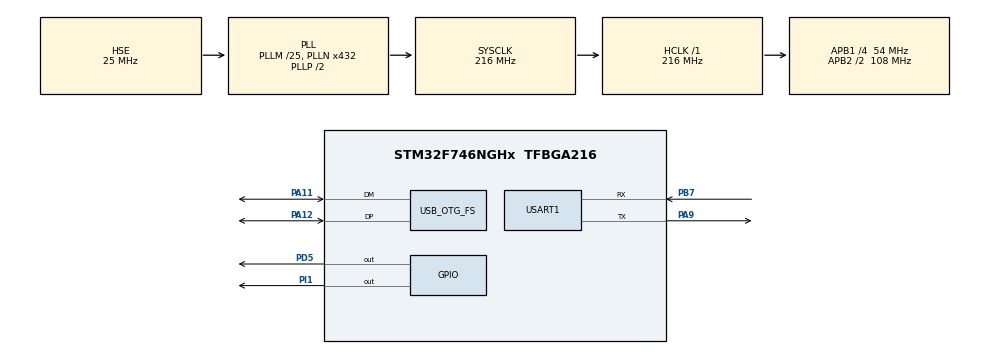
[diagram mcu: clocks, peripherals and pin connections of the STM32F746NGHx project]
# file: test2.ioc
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Dma.Request0=USART1_TX
Dma.USART1_TX.0.Direction=DMA_MEMORY_TO_PERIPH
Dma.USART1_TX.0.FIFOMode=DMA_FIFOMODE_DISABLE
Dma.USART1_TX.0.Instance=DMA2_Stream7
Dma.USART1_TX.0.MemDataAlignment=DMA_MDATAALIGN_BYTE
Dma.USART1_TX.0.MemInc=DMA_MINC_ENABLE
Dma.USART1_TX.0.Mode=DMA_NORMAL
Dma.USART1_TX.0.PeriphDataAlignment=DMA_PDATAALIGN_BYTE
Dma.USART1_TX.0.PeriphInc=DMA_PINC_DISABLE
Dma.USART1_TX.0.Priority=DMA_PRIORITY_LOW
FATFS._USE_LFN=3
Mcu.Family=STM32F7
Mcu.Name=STM32F746NGHx
Mcu.Package=TFBGA216
NVIC.DMA2_Stream7_IRQn=true\:0\:0\:false\:false\:true\:false
NVIC.OTG_FS_IRQn=true\:0\:0\:false\:false\:true\:false
NVIC.PriorityGroup=NVIC_PRIORITYGROUP_4
PA11.Mode=Host_Only
PA11.Signal=USB_OTG_FS_DM
PA12.Mode=Host_Only
PA12.Signal=USB_OTG_FS_DP
PA9.Mode=Asynchronous
PA9.Signal=USART1_TX
PB7.Mode=Asynchronous
PB7.Signal=USART1_RX
PD5.Signal=GPIO_Output
PH0/OSC_IN.Mode=HSE-External-Oscillator
PH0/OSC_IN.Signal=RCC_OSC_IN
PH1/OSC_OUT.Mode=HSE-External-Oscillator
PH1/OSC_OUT.Signal=RCC_OSC_OUT
PI1.Signal=GPIO_Output
ProjectManager.HeapSize=0x2000
ProjectManager.StackSize=0x4000
ProjectManager.TargetToolchain=TrueSTUDIO
RCC.AHBFreq_Value=216000000
RCC.APB1CLKDivider=RCC_HCLK_DIV4
RCC.APB1Freq_Value=54000000
RCC.APB1TimFreq_Value=108000000
RCC.APB2CLKDivider=RCC_HCLK_DIV2
RCC.APB2Freq_Value=108000000
RCC.APB2TimFreq_Value=216000000
RCC.CortexFreq_Value=216000000
RCC.HCLKFreq_Value=216000000
RCC.HSE_VALUE=25000000
RCC.HSI_VALUE=16000000
RCC.LSE_VALUE=32768
RCC.PLLM=25
RCC.PLLN=432
RCC.PLLQ=9
RCC.SYSCLKFreq_VALUE=216000000
RCC.SYSCLKSource=RCC_SYSCLKSOURCE_PLLCLK
RCC.USBFreq_Value=48000000
RCC.VCOOutputFreq_Value=432000000
USART1.VirtualMode-Asynchronous=VM_ASYNC
USART1.WordLength=WORDLENGTH_8B
USB_HOST.USBH_HandleTypeDef-MSC_FS=hUsbHostFS
USB_HOST.USBH_HandleTypeDef-MSC_HS=hUsbHostHS
USB_HOST.VirtualModeFS=Msc
USB_HOST.VirtualModeHS=Msc
USB_OTG_FS.VirtualMode=Host_Only
USB_OTG_FS.phy_itface=HCD_PHY_EMBEDDED
VP_FATFS_VS_USB.Mode=USB
VP_USB_HOST_VS_USB_HOST_MSC_FS.Mode=MSC_FS
board=test2

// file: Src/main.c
/**
  ******************************************************************************
  * File Name          : main.c
  * Description        : Main program body
  ******************************************************************************
  * This notice applies to any and all portions of this file
  * that are not between comment pairs USER CODE BEGIN and
  * USER CODE END. Other portions of this file, whether
  * inserted by the user or by software development tools
  * are owned by their respective copyright owners.
  *
  * Copyright (c) 2018 STMicroelectronics International N.V.
  * All rights reserved.
  *
  * Redistribution and use in source and binary forms, with or without
  * modification, are permitted, provided that the following conditions are met:
  *
  * 1. Redistribution of source code must retain the above copyright notice,
  *    this list of conditions and the following disclaimer.
  * 2. Redistributions in binary form must reproduce the above copyright notice,
  *    this list of conditions and the following disclaimer in the documentation
  *    and/or other materials provided with the distribution.
  * 3. Neither the name of STMicroelectronics nor the names of other
  *    contributors to this software may be used to endorse or promote products
  *    derived from this software without specific written permission.
  * 4. This software, including modifications and/or derivative works of this
  *    software, must execute solely and exclusively on microcontroller or
  *    microprocessor devices manufactured by or for STMicroelectronics.
  * 5. Redistribution and use of this software other than as permitted under
  *    this license is void and will automatically terminate your rights under
  *    this license.
  *
  * THIS SOFTWARE IS PROVIDED BY STMICROELECTRONICS AND CONTRIBUTORS "AS IS"
  * AND ANY EXPRESS, IMPLIED OR STATUTORY WARRANTIES, INCLUDING, BUT NOT
  * LIMITED TO, THE IMPLIED WARRANTIES OF MERCHANTABILITY, FITNESS FOR A
  * PARTICULAR PURPOSE AND NON-INFRINGEMENT OF THIRD PARTY INTELLECTUAL PROPERTY
  * RIGHTS ARE DISCLAIMED TO THE FULLEST EXTENT PERMITTED BY LAW. IN NO EVENT
  * SHALL STMICROELECTRONICS OR CONTRIBUTORS BE LIABLE FOR ANY DIRECT, INDIRECT,
  * INCIDENTAL, SPECIAL, EXEMPLARY, OR CONSEQUENTIAL DAMAGES (INCLUDING, BUT NOT
  * LIMITED TO, PROCUREMENT OF SUBSTITUTE GOODS OR SERVICES; LOSS OF USE, DATA,
  * OR PROFITS; OR BUSINESS INTERRUPTION) HOWEVER CAUSED AND ON ANY THEORY OF
  * LIABILITY, WHETHER IN CONTRACT, STRICT LIABILITY, OR TORT (INCLUDING
  * NEGLIGENCE OR OTHERWISE) ARISING IN ANY WAY OUT OF THE USE OF THIS SOFTWARE,
  * EVEN IF ADVISED OF THE POSSIBILITY OF SUCH DAMAGE.
  *
  ******************************************************************************
  */

#include "main.h"
#include "stm32f7xx_hal.h"
#include "fatfs.h"
#include "usb_host.h"

/* USER CODE BEGIN Includes */

#include "ff_gen_drv.h"

/* USER CODE END Includes */

UART_HandleTypeDef huart1;
DMA_HandleTypeDef hdma_usart1_tx;

/* USER CODE BEGIN PV */
/* Private variables ---------------------------------------------------------*/

extern ApplicationTypeDef Appli_state;
FATFS USBDISKFatFs;           /* File system object for USB disk logical drive */
FIL MyFile;                   /* File object */
extern USBH_HandleTypeDef hUsbHostFS;

/* USER CODE END PV */

void SystemClock_Config(void);
static void MX_GPIO_Init(void);
static void MX_DMA_Init(void);
static void MX_USART1_UART_Init(void);
void MX_USB_HOST_Process(void);

/* USER CODE BEGIN PFP */
/* Private function prototypes -----------------------------------------------*/

/* USER CODE END PFP */

/* USER CODE BEGIN 0 */

void scanFiles(void)
{
	FRESULT res;
	DIR dir;
	UINT nFiles = 0;
	static FILINFO fno;

	res = f_opendir(&dir, "/");
	if (res == FR_OK)
	{
		while (((res = f_readdir(&dir, &fno)) == FR_OK) && fno.fname[0])
		{
			if (!(fno.fattrib & AM_DIR)) {
				nFiles++;
				HAL_UART_Transmit(&huart1, (uint8_t *)fno.fname, strlen(fno.fname),0xFFFF);
				//HAL_Delay(10);
				HAL_UART_Transmit(&huart1, (uint8_t *)"\r\n", 2,0xFFFF);
				//HAL_Delay(10);
			}
		}
	}
	f_closedir(&dir);
}

/* USER CODE END 0 */

int main(void)
{

  /* MCU Configuration----------------------------------------------------------*/

  /* Reset of all peripherals, Initializes the Flash interface and the Systick. */
  HAL_Init();

  /* Configure the system clock */
  SystemClock_Config();

  /* Initialize all configured peripherals */
  MX_GPIO_Init();
  MX_DMA_Init();
  MX_USB_HOST_Init();
  MX_FATFS_Init();
  MX_USART1_UART_Init();

  /* Infinite loop */
  while (1)
  {
    MX_USB_HOST_Process();

  /* USER CODE BEGIN 3 */
    if(Appli_state==APPLICATION_START)
	{
    	HAL_GPIO_WritePin(GPIOI, GPIO_PIN_1, GPIO_PIN_SET);

		if(f_mount(&USBDISKFatFs, "", 0) != FR_OK)
		{
			HAL_UART_Transmit(&huart1, (uint8_t *)"mount error\r\n", 13,0xFFFF);
		}else {
			HAL_UART_Transmit(&huart1, (uint8_t *)"SCAN:\r\n", 7,0xFFFF);
			HAL_Delay(100);
			scanFiles();
		}

		Appli_state = APPLICATION_IDLE;
	}
	else if(Appli_state==APPLICATION_IDLE)
	{

	}

  }
  /* USER CODE END 3 */

}

/** System Clock Configuration
*/
void SystemClock_Config(void)
{

  RCC_OscInitTypeDef RCC_OscInitStruct;
  RCC_ClkInitTypeDef RCC_ClkInitStruct;
  RCC_PeriphCLKInitTypeDef PeriphClkInitStruct;

    /**Configure the main internal regulator output voltage
    */
  __HAL_RCC_PWR_CLK_ENABLE();

  __HAL_PWR_VOLTAGESCALING_CONFIG(PWR_REGULATOR_VOLTAGE_SCALE1);

    /**Initializes the CPU, AHB and APB busses clocks
    */
  RCC_OscInitStruct.OscillatorType = RCC_OSCILLATORTYPE_HSE;
  RCC_OscInitStruct.HSEState = RCC_HSE_ON;
  RCC_OscInitStruct.PLL.PLLState = RCC_PLL_ON;
  RCC_OscInitStruct.PLL.PLLSource = RCC_PLLSOURCE_HSE;
  RCC_OscInitStruct.PLL.PLLM = 25;
  RCC_OscInitStruct.PLL.PLLN = 432;
  RCC_OscInitStruct.PLL.PLLP = RCC_PLLP_DIV2;
  RCC_OscInitStruct.PLL.PLLQ = 9;
  if (HAL_RCC_OscConfig(&RCC_OscInitStruct) != HAL_OK)
  {
    _Error_Handler(__FILE__, __LINE__);
  }

    /**Activate the Over-Drive mode
    */
  if (HAL_PWREx_EnableOverDrive() != HAL_OK)
  {
    _Error_Handler(__FILE__, __LINE__);
  }

    /**Initializes the CPU, AHB and APB busses clocks
    */
  RCC_ClkInitStruct.ClockType = RCC_CLOCKTYPE_HCLK|RCC_CLOCKTYPE_SYSCLK
                              |RCC_CLOCKTYPE_PCLK1|RCC_CLOCKTYPE_PCLK2;
  RCC_ClkInitStruct.SYSCLKSource = RCC_SYSCLKSOURCE_PLLCLK;
  RCC_ClkInitStruct.AHBCLKDivider = RCC_SYSCLK_DIV1;
  RCC_ClkInitStruct.APB1CLKDivider = RCC_HCLK_DIV4;
  RCC_ClkInitStruct.APB2CLKDivider = RCC_HCLK_DIV2;

  if (HAL_RCC_ClockConfig(&RCC_ClkInitStruct, FLASH_LATENCY_7) != HAL_OK)
  {
    _Error_Handler(__FILE__, __LINE__);
  }

  PeriphClkInitStruct.PeriphClockSelection = RCC_PERIPHCLK_USART1|RCC_PERIPHCLK_CLK48;
  PeriphClkInitStruct.Usart1ClockSelection = RCC_USART1CLKSOURCE_PCLK2;
  PeriphClkInitStruct.Clk48ClockSelection = RCC_CLK48SOURCE_PLL;
  if (HAL_RCCEx_PeriphCLKConfig(&PeriphClkInitStruct) != HAL_OK)
  {
    _Error_Handler(__FILE__, __LINE__);
  }

    /**Configure the Systick interrupt time
    */
  HAL_SYSTICK_Config(HAL_RCC_GetHCLKFreq()/1000);

    /**Configure the Systick
    */
  HAL_SYSTICK_CLKSourceConfig(SYSTICK_CLKSOURCE_HCLK);

  /* SysTick_IRQn interrupt configuration */
  HAL_NVIC_SetPriority(SysTick_IRQn, 0, 0);
}

/* USART1 init function */
static void MX_USART1_UART_Init(void)
{

  huart1.Instance = USART1;
  huart1.Init.BaudRate = 115200;
  huart1.Init.WordLength = UART_WORDLENGTH_8B;
  huart1.Init.StopBits = UART_STOPBITS_1;
  huart1.Init.Parity = UART_PARITY_NONE;
  huart1.Init.Mode = UART_MODE_TX_RX;
  huart1.Init.HwFlowCtl = UART_HWCONTROL_NONE;
  huart1.Init.OverSampling = UART_OVERSAMPLING_16;
  huart1.Init.OneBitSampling = UART_ONE_BIT_SAMPLE_DISABLE;
  huart1.AdvancedInit.AdvFeatureInit = UART_ADVFEATURE_NO_INIT;
  if (HAL_UART_Init(&huart1) != HAL_OK)
  {
    _Error_Handler(__FILE__, __LINE__);
  }

}

static void MX_DMA_Init(void)
{
  /* DMA controller clock enable */
  __HAL_RCC_DMA2_CLK_ENABLE();

  /* DMA interrupt init */
  /* DMA2_Stream7_IRQn interrupt configuration */
  HAL_NVIC_SetPriority(DMA2_Stream7_IRQn, 0, 0);
  HAL_NVIC_EnableIRQ(DMA2_Stream7_IRQn);

}

/** Configure pins as
        * Analog
        * Input
        * Output
        * EVENT_OUT
        * EXTI
*/
static void MX_GPIO_Init(void)
{

  GPIO_InitTypeDef GPIO_InitStruct;

  /* GPIO Ports Clock Enable */
  __HAL_RCC_GPIOB_CLK_ENABLE();
  __HAL_RCC_GPIOA_CLK_ENABLE();
  __HAL_RCC_GPIOD_CLK_ENABLE();
  __HAL_RCC_GPIOI_CLK_ENABLE();
  __HAL_RCC_GPIOH_CLK_ENABLE();

  /*Configure GPIO pin Output Level */
  HAL_GPIO_WritePin(GPIOD, GPIO_PIN_5, GPIO_PIN_RESET);

  /*Configure GPIO pin Output Level */
  HAL_GPIO_WritePin(GPIOI, GPIO_PIN_1, GPIO_PIN_RESET);

  /*Configure GPIO pin : PD5 */
  GPIO_InitStruct.Pin = GPIO_PIN_5;
  GPIO_InitStruct.Mode = GPIO_MODE_OUTPUT_PP;
  GPIO_InitStruct.Pull = GPIO_NOPULL;
  GPIO_InitStruct.Speed = GPIO_SPEED_FREQ_LOW;
  HAL_GPIO_Init(GPIOD, &GPIO_InitStruct);

  /*Configure GPIO pin : PI1 */
  GPIO_InitStruct.Pin = GPIO_PIN_1;
  GPIO_InitStruct.Mode = GPIO_MODE_OUTPUT_PP;
  GPIO_InitStruct.Pull = GPIO_NOPULL;
  GPIO_InitStruct.Speed = GPIO_SPEED_FREQ_LOW;
  HAL_GPIO_Init(GPIOI, &GPIO_InitStruct);

}

void _Error_Handler(char * file, int line)
{
  while(1)
  {
  }
}

/************************ (C) COPYRIGHT STMicroelectronics *****END OF FILE****/
